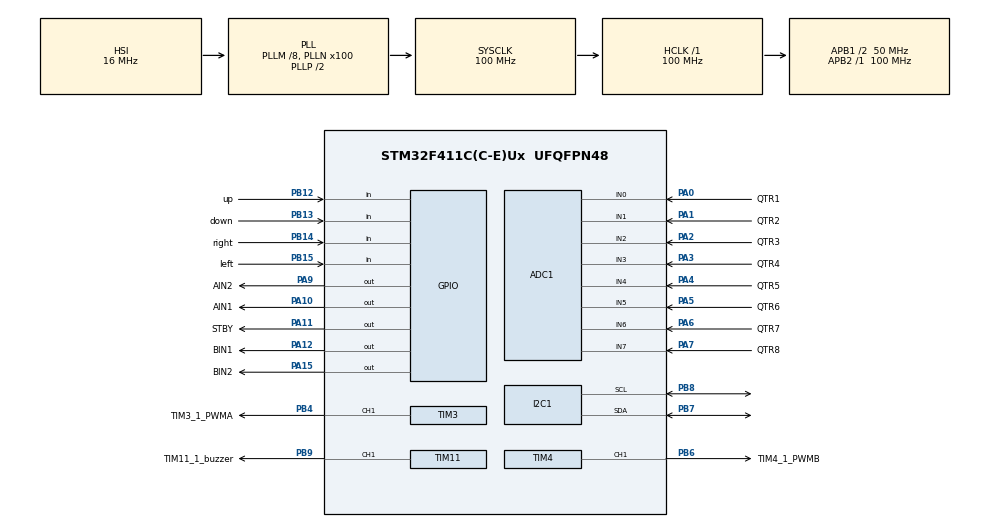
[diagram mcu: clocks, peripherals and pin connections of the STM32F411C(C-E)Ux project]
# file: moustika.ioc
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ADC1.Channel-0\#ChannelRegularConversion=ADC_CHANNEL_0
ADC1.Channel-1\#ChannelRegularConversion=ADC_CHANNEL_1
ADC1.Channel-2\#ChannelRegularConversion=ADC_CHANNEL_2
ADC1.Channel-3\#ChannelRegularConversion=ADC_CHANNEL_3
ADC1.Channel-4\#ChannelRegularConversion=ADC_CHANNEL_4
ADC1.Channel-5\#ChannelRegularConversion=ADC_CHANNEL_5
ADC1.Channel-6\#ChannelRegularConversion=ADC_CHANNEL_6
ADC1.Channel-7\#ChannelRegularConversion=ADC_CHANNEL_7
ADC1.ContinuousConvMode=ENABLE
ADC1.DMAContinuousRequests=ENABLE
ADC1.NbrOfConversion=8
ADC1.NbrOfConversionFlag=1
ADC1.Rank-0\#ChannelRegularConversion=1
ADC1.Rank-1\#ChannelRegularConversion=2
ADC1.Rank-2\#ChannelRegularConversion=3
ADC1.Rank-3\#ChannelRegularConversion=4
ADC1.Rank-4\#ChannelRegularConversion=5
ADC1.Rank-5\#ChannelRegularConversion=6
ADC1.Rank-6\#ChannelRegularConversion=7
ADC1.Rank-7\#ChannelRegularConversion=8
ADC1.SamplingTime-0\#ChannelRegularConversion=ADC_SAMPLETIME_15CYCLES
ADC1.SamplingTime-1\#ChannelRegularConversion=ADC_SAMPLETIME_15CYCLES
ADC1.SamplingTime-2\#ChannelRegularConversion=ADC_SAMPLETIME_15CYCLES
ADC1.SamplingTime-3\#ChannelRegularConversion=ADC_SAMPLETIME_15CYCLES
ADC1.SamplingTime-4\#ChannelRegularConversion=ADC_SAMPLETIME_15CYCLES
ADC1.SamplingTime-5\#ChannelRegularConversion=ADC_SAMPLETIME_15CYCLES
ADC1.SamplingTime-6\#ChannelRegularConversion=ADC_SAMPLETIME_15CYCLES
ADC1.SamplingTime-7\#ChannelRegularConversion=ADC_SAMPLETIME_15CYCLES
ADC1.ScanConvMode=ENABLE
ADC1.master=1
Dma.ADC1.0.Direction=DMA_PERIPH_TO_MEMORY
Dma.ADC1.0.FIFOMode=DMA_FIFOMODE_DISABLE
Dma.ADC1.0.Instance=DMA2_Stream0
Dma.ADC1.0.MemDataAlignment=DMA_MDATAALIGN_HALFWORD
Dma.ADC1.0.MemInc=DMA_MINC_ENABLE
Dma.ADC1.0.Mode=DMA_CIRCULAR
Dma.ADC1.0.PeriphDataAlignment=DMA_PDATAALIGN_HALFWORD
Dma.ADC1.0.PeriphInc=DMA_PINC_DISABLE
Dma.ADC1.0.Priority=DMA_PRIORITY_LOW
Dma.Request0=ADC1
I2C1.I2C_Mode=I2C_Fast
Mcu.Family=STM32F4
Mcu.Name=STM32F411C(C-E)Ux
Mcu.Package=UFQFPN48
NVIC.DMA2_Stream0_IRQn=true\:0\:0\:false\:false\:true\:false\:true\:true
NVIC.PriorityGroup=NVIC_PRIORITYGROUP_4
PA0-WKUP.GPIO_Label=QTR1
PA0-WKUP.Signal=ADCx_IN0
PA1.GPIO_Label=QTR2
PA1.Signal=ADCx_IN1
PA10.GPIO_Label=AIN1
PA10.Signal=GPIO_Output
PA11.GPIO_Label=STBY
PA11.Signal=GPIO_Output
PA12.GPIO_Label=BIN1
PA12.Signal=GPIO_Output
PA13.Mode=Serial_Wire
PA13.Signal=SYS_JTMS-SWDIO
PA14.Mode=Serial_Wire
PA14.Signal=SYS_JTCK-SWCLK
PA15.GPIO_Label=BIN2
PA15.Signal=GPIO_Output
PA2.GPIO_Label=QTR3
PA2.Signal=ADCx_IN2
PA3.GPIO_Label=QTR4
PA3.Signal=ADCx_IN3
PA4.GPIO_Label=QTR5
PA4.Signal=ADCx_IN4
PA5.GPIO_Label=QTR6
PA5.Signal=ADCx_IN5
PA6.GPIO_Label=QTR7
PA6.Signal=ADCx_IN6
PA7.GPIO_Label=QTR8
PA7.Signal=ADCx_IN7
PA9.GPIO_Label=AIN2
PA9.Signal=GPIO_Output
PB12.GPIO_Label=up
PB12.Signal=GPIO_Input
PB13.GPIO_Label=down
PB13.Signal=GPIO_Input
PB14.GPIO_Label=right
PB14.Signal=GPIO_Input
PB15.GPIO_Label=left
PB15.Signal=GPIO_Input
PB4.GPIO_Label=TIM3_1_PWMA
PB4.Signal=S_TIM3_CH1
PB6.GPIO_Label=TIM4_1_PWMB
PB6.Signal=S_TIM4_CH1
PB7.Mode=I2C
PB7.Signal=I2C1_SDA
PB8.Mode=I2C
PB8.Signal=I2C1_SCL
PB9.GPIO_Label=TIM11_1_buzzer
PB9.Signal=S_TIM11_CH1
PH0\ -\ OSC_IN.Mode=HSE-External-Oscillator
PH0\ -\ OSC_IN.Signal=RCC_OSC_IN
PH1\ -\ OSC_OUT.Mode=HSE-External-Oscillator
PH1\ -\ OSC_OUT.Signal=RCC_OSC_OUT
ProjectManager.HeapSize=0x200
ProjectManager.StackSize=0x400
ProjectManager.TargetToolchain=STM32CubeIDE
RCC.48MHZClocksFreq_Value=50000000
RCC.AHBFreq_Value=100000000
RCC.APB1CLKDivider=RCC_HCLK_DIV2
RCC.APB1Freq_Value=50000000
RCC.APB1TimFreq_Value=100000000
RCC.APB2Freq_Value=100000000
RCC.APB2TimFreq_Value=100000000
RCC.CortexFreq_Value=100000000
RCC.HCLKFreq_Value=100000000
RCC.HSE_VALUE=25000000
RCC.HSI_VALUE=16000000
RCC.LSE_VALUE=32768
RCC.PLLM=8
RCC.PLLN=100
RCC.SYSCLKFreq_VALUE=100000000
RCC.SYSCLKSource=RCC_SYSCLKSOURCE_PLLCLK
RCC.VCOOutputFreq_Value=200000000
SH.ADCx_IN0.0=ADC1_IN0,IN0
SH.ADCx_IN1.0=ADC1_IN1,IN1
SH.ADCx_IN2.0=ADC1_IN2,IN2
SH.ADCx_IN3.0=ADC1_IN3,IN3
SH.ADCx_IN4.0=ADC1_IN4,IN4
SH.ADCx_IN5.0=ADC1_IN5,IN5
SH.ADCx_IN6.0=ADC1_IN6,IN6
SH.ADCx_IN7.0=ADC1_IN7,IN7
SH.S_TIM11_CH1.0=TIM11_CH1,PWM Generation1 CH1
SH.S_TIM3_CH1.0=TIM3_CH1,PWM Generation1 CH1
SH.S_TIM4_CH1.0=TIM4_CH1,PWM Generation1 CH1
TIM11.Channel=TIM_CHANNEL_1
TIM3.AutoReloadPreload=TIM_AUTORELOAD_PRELOAD_ENABLE
TIM3.Channel-PWM\ Generation1\ CH1=TIM_CHANNEL_1
TIM3.Period=1000
TIM3.Prescaler=4
TIM4.AutoReloadPreload=TIM_AUTORELOAD_PRELOAD_ENABLE
TIM4.Channel-PWM\ Generation1\ CH1=TIM_CHANNEL_1
TIM4.Period=1000
TIM4.Prescaler=4
VP_TIM11_VS_ClockSourceINT.Mode=Enable_Timer
board=custom

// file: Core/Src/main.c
/* USER CODE BEGIN Header */
/**
  ******************************************************************************
  * @file           : main.c
  * @brief          : Main program body
  ******************************************************************************
  * @attention
  *
  * Copyright (c) 2026 STMicroelectronics.
  * All rights reserved.
  *
  * This software is licensed under terms that can be found in the LICENSE file
  * in the root directory of this software component.
  * If no LICENSE file comes with this software, it is provided AS-IS.
  *
  ******************************************************************************
  */
/* USER CODE END Header */
#include "main.h"

/* USER CODE BEGIN Includes */
#include "fonts.h"
#include "ssd1306.h"
#include "stdio.h"
#include "string.h"
/* USER CODE END Includes */

/* USER CODE BEGIN PD */

uint16_t qtrValues[8];
uint16_t linePos;
uint16_t qtrCalibrated[8];

uint32_t lastPidTime = 0;
uint32_t lastScreenTime = 0;

int LINE_TH = 50;
// External/Global arrays
extern uint16_t qtrValues[8];
uint16_t qtrCalibrated[8];
float Kp = 0.4;
float Kd = 6;
float Ki = 0;

int sharp_right = 0;
int sharp_left = 0;
// Ki is usually not needed for line followers, keeps it simple.

int lastError = 0; // To store previous error for calculating D

int baseSpeed = 800;
int maxSpeed = 1000;
// ==========================================
// MOTOR DRIVER (TB6612FNG)
// ==========================================
// Standby Pin (Must be HIGH to run motors)
#define STBY_PORT       GPIOA
#define STBY_PIN        GPIO_PIN_11

// Motor A (Left) - PWM on TIM3 CH1 (PB4)
#define PWMA_TIM_HANDLE &htim3
#define PWMA_CHANNEL    TIM_CHANNEL_1
#define AIN1_PORT       GPIOA
#define AIN1_PIN        GPIO_PIN_10
#define AIN2_PORT       GPIOA
#define AIN2_PIN        GPIO_PIN_9

// Motor B (Right) - PWM on TIM4 CH1 (PB6)
#define PWMB_TIM_HANDLE &htim4
#define PWMB_CHANNEL    TIM_CHANNEL_1
#define BIN1_PORT       GPIOA
#define BIN1_PIN        GPIO_PIN_12
#define BIN2_PORT       GPIOA
#define BIN2_PIN        GPIO_PIN_15  // WARNING: JTAG Pin (Disable JTAG in CubeMX!)

// ==========================================
// USER INTERFACE (Buttons)
// ==========================================
// Wired to GPIOB, assuming Pull-UP input (Connect button to GND)
#define BTN_PORT        GPIOB
#define BTN_UP_PIN      GPIO_PIN_12
#define BTN_DOWN_PIN    GPIO_PIN_13
#define BTN_RIGHT_PIN   GPIO_PIN_14
#define BTN_LEFT_PIN    GPIO_PIN_15

// ==========================================
// SENSORS (QTR-8A)
// ==========================================
// Connected to ADC1 IN0 -> IN7 (PA0 -> PA7)
// No defines needed here if using DMA array,
// but good to know for reference:
#define SENSOR_PORT     GPIOA
#define SENSOR_1_PIN    GPIO_PIN_0
#define SENSOR_8_PIN    GPIO_PIN_7

// ==========================================
// EXTRAS
// ==========================================
#define BUZZER_PORT     GPIOB
#define BUZZER_PIN      GPIO_PIN_9  // TIM11 CH1
#define OLED_I2C_PORT   GPIOB
#define OLED_SCL_PIN    GPIO_PIN_8
#define OLED_SDA_PIN    GPIO_PIN_7

/* USER CODE END PD */

ADC_HandleTypeDef hadc1;
DMA_HandleTypeDef hdma_adc1;

I2C_HandleTypeDef hi2c1;

TIM_HandleTypeDef htim3;
TIM_HandleTypeDef htim4;
TIM_HandleTypeDef htim11;

/* USER CODE BEGIN PV */
typedef enum {
    STATE_MENU,
	STATE_START,
	STATE_PID

} SystemState;

SystemState currentState = STATE_MENU;
int menuIndex = 0;

const char* menuItems[] = {
    "1. START",
	"2. PID "

};

uint8_t updateScreen = 1;

/* USER CODE END PV */

void SystemClock_Config(void);
static void MX_GPIO_Init(void);
static void MX_DMA_Init(void);
static void MX_TIM3_Init(void);
static void MX_TIM4_Init(void);
static void MX_I2C1_Init(void);
static void MX_ADC1_Init(void);
static void MX_TIM11_Init(void);
/* USER CODE BEGIN PFP */

void SetMotorA(int speed);
void SetMotorB(int speed);
void EnableMotors();
void DisableMotors();
uint8_t IsPressed(GPIO_TypeDef *Port, uint16_t Pin);
uint16_t CalculateLinePosition(void);

void DrawGraphScreen(uint16_t position);

void Run_PID(void);
void calibrateQTR(void);
void SetupTrackCalibration(void);

/* USER CODE END PFP */

int main(void)
{

  /* MCU Configuration--------------------------------------------------------*/

  /* Reset of all peripherals, Initializes the Flash interface and the Systick. */
  HAL_Init();

  /* Configure the system clock */
  SystemClock_Config();

  /* Initialize all configured peripherals */
  MX_GPIO_Init();
  MX_DMA_Init();
  MX_TIM3_Init();
  MX_TIM4_Init();
  MX_I2C1_Init();
  MX_ADC1_Init();
  MX_TIM11_Init();
  /* USER CODE BEGIN 2 */
  //HAL_TIM_PWM_Start(&htim3, TIM_CHANNEL_1);
  //setMotorSpeed(500);
  SSD1306_Init();
  SSD1306_Fill(0); // Clear black
  SSD1306_UpdateScreen();

  // 2. Start PWM Timers
  HAL_TIM_PWM_Start(&htim3, TIM_CHANNEL_1);
  HAL_TIM_PWM_Start(&htim4, TIM_CHANNEL_1);
  EnableMotors();

  if(HAL_ADC_Start_DMA(&hadc1, (uint32_t*)qtrValues, 8) != HAL_OK)
  {
      // DMA Start Error Handler (Optional: Print to OLED)
      SSD1306_GotoXY(0,0);
      SSD1306_Puts("DMA ERR", &Font_7x10, 1);
      SSD1306_UpdateScreen();
      Error_Handler();
  }

  SetupTrackCalibration();
  /* USER CODE END 2 */

  /* Infinite loop */
  /* USER CODE BEGIN WHILE */
  while (1)
  {

      if (HAL_GetTick() - lastPidTime >= 1)
      {
          lastPidTime = HAL_GetTick();

          calibrateQTR();
          linePos = CalculateLinePosition();
          Run_PID();

          int leftSide   = (qtrCalibrated[0] > LINE_TH) + (qtrCalibrated[1] > LINE_TH) + (qtrCalibrated[2] > LINE_TH);
          int rightSide  = (qtrCalibrated[5] > LINE_TH) + (qtrCalibrated[6] > LINE_TH) + (qtrCalibrated[7] > LINE_TH);
          int center     = (qtrCalibrated[3] > LINE_TH) + (qtrCalibrated[4] > LINE_TH);

          int totalActive = leftSide + rightSide + center;

          if(leftSide >= 2 && rightSide == 0) {
              sharp_left = 1;
              sharp_right = 0; // Clear the other flag to be safe
          }
          if(rightSide >= 2 && leftSide == 0) {
              sharp_left = 0;
              sharp_right = 1; // Clear the other flag to be safe
          }

          if (totalActive <= 1)
                    {
                        // Brake briefly to stop forward momentum before spinning
                        SetMotorA(0);
                        SetMotorB(0);
                        HAL_Delay(50);

                        while (1)
                        {
                            calibrateQTR();
                            linePos = CalculateLinePosition(); // Just to get raw values updated

                            // EXIT CONDITION: Center sensors see the line
                            if (qtrCalibrated[3] > LINE_TH || qtrCalibrated[4] > LINE_TH) {
                                // Reset flags and exit recovery
                                sharp_left = 0;
                                sharp_right = 0;
                                lastError = 0; // Reset PID memory
                                break;
                            }

                            // MOVEMENT LOGIC (Must use ELSE IF)
                            if(sharp_left) {
                                // We remembered a left turn -> Spin Left
                                SetMotorA(-700); // Reduced from 1000 to catch line easier
                                SetMotorB(700);
                            }
                            else if(sharp_right) {
                                // We remembered a right turn -> Spin Right
                                SetMotorA(700);
                                SetMotorB(-700);
                            }
                            else {
                                // No flag set? Use PID History (Standard Gap)
                                if(lastError > 0) {
                                     // Lost to the Right -> Spin Right
                                     SetMotorA(700);
                                     SetMotorB(-700);
                                }
                                else {
                                     // Lost to the Left -> Spin Left
                                     SetMotorA(-700);
                                     SetMotorB(700);
                                }
                            }
                            // Small delay to prevent CPU hogging in while loop (optional)
                            // HAL_Delay(1);
                        }
                    }

      }

      if (HAL_GetTick() - lastScreenTime >= 100)
      {
          lastScreenTime = HAL_GetTick();
          DrawGraphScreen(linePos);
      }

      // 3. Delay
      //HAL_Delay(50);

    /* USER CODE END WHILE */

  }
}

void SystemClock_Config(void)
{
  RCC_OscInitTypeDef RCC_OscInitStruct = {0};
  RCC_ClkInitTypeDef RCC_ClkInitStruct = {0};

  /** Configure the main internal regulator output voltage
  */
  __HAL_RCC_PWR_CLK_ENABLE();
  __HAL_PWR_VOLTAGESCALING_CONFIG(PWR_REGULATOR_VOLTAGE_SCALE1);

  /** Initializes the RCC Oscillators according to the specified parameters
  * in the RCC_OscInitTypeDef structure.
  */
  RCC_OscInitStruct.OscillatorType = RCC_OSCILLATORTYPE_HSI;
  RCC_OscInitStruct.HSIState = RCC_HSI_ON;
  RCC_OscInitStruct.HSICalibrationValue = RCC_HSICALIBRATION_DEFAULT;
  RCC_OscInitStruct.PLL.PLLState = RCC_PLL_ON;
  RCC_OscInitStruct.PLL.PLLSource = RCC_PLLSOURCE_HSI;
  RCC_OscInitStruct.PLL.PLLM = 8;
  RCC_OscInitStruct.PLL.PLLN = 100;
  RCC_OscInitStruct.PLL.PLLP = RCC_PLLP_DIV2;
  RCC_OscInitStruct.PLL.PLLQ = 4;
  if (HAL_RCC_OscConfig(&RCC_OscInitStruct) != HAL_OK)
  {
    Error_Handler();
  }

  /** Initializes the CPU, AHB and APB buses clocks
  */
  RCC_ClkInitStruct.ClockType = RCC_CLOCKTYPE_HCLK|RCC_CLOCKTYPE_SYSCLK
                              |RCC_CLOCKTYPE_PCLK1|RCC_CLOCKTYPE_PCLK2;
  RCC_ClkInitStruct.SYSCLKSource = RCC_SYSCLKSOURCE_PLLCLK;
  RCC_ClkInitStruct.AHBCLKDivider = RCC_SYSCLK_DIV1;
  RCC_ClkInitStruct.APB1CLKDivider = RCC_HCLK_DIV2;
  RCC_ClkInitStruct.APB2CLKDivider = RCC_HCLK_DIV1;

  if (HAL_RCC_ClockConfig(&RCC_ClkInitStruct, FLASH_LATENCY_3) != HAL_OK)
  {
    Error_Handler();
  }
}

static void MX_ADC1_Init(void)
{

  ADC_ChannelConfTypeDef sConfig = {0};

  /** Configure the global features of the ADC (Clock, Resolution, Data Alignment and number of conversion)
  */
  hadc1.Instance = ADC1;
  hadc1.Init.ClockPrescaler = ADC_CLOCK_SYNC_PCLK_DIV4;
  hadc1.Init.Resolution = ADC_RESOLUTION_12B;
  hadc1.Init.ScanConvMode = ENABLE;
  hadc1.Init.ContinuousConvMode = ENABLE;
  hadc1.Init.DiscontinuousConvMode = DISABLE;
  hadc1.Init.ExternalTrigConvEdge = ADC_EXTERNALTRIGCONVEDGE_NONE;
  hadc1.Init.ExternalTrigConv = ADC_SOFTWARE_START;
  hadc1.Init.DataAlign = ADC_DATAALIGN_RIGHT;
  hadc1.Init.NbrOfConversion = 8;
  hadc1.Init.DMAContinuousRequests = ENABLE;
  hadc1.Init.EOCSelection = ADC_EOC_SINGLE_CONV;
  if (HAL_ADC_Init(&hadc1) != HAL_OK)
  {
    Error_Handler();
  }

  /** Configure for the selected ADC regular channel its corresponding rank in the sequencer and its sample time.
  */
  sConfig.Channel = ADC_CHANNEL_0;
  sConfig.Rank = 1;
  sConfig.SamplingTime = ADC_SAMPLETIME_15CYCLES;
  if (HAL_ADC_ConfigChannel(&hadc1, &sConfig) != HAL_OK)
  {
    Error_Handler();
  }

  /** Configure for the selected ADC regular channel its corresponding rank in the sequencer and its sample time.
  */
  sConfig.Channel = ADC_CHANNEL_1;
  sConfig.Rank = 2;
  if (HAL_ADC_ConfigChannel(&hadc1, &sConfig) != HAL_OK)
  {
    Error_Handler();
  }

  /** Configure for the selected ADC regular channel its corresponding rank in the sequencer and its sample time.
  */
  sConfig.Channel = ADC_CHANNEL_2;
  sConfig.Rank = 3;
  if (HAL_ADC_ConfigChannel(&hadc1, &sConfig) != HAL_OK)
  {
    Error_Handler();
  }

  /** Configure for the selected ADC regular channel its corresponding rank in the sequencer and its sample time.
  */
  sConfig.Channel = ADC_CHANNEL_3;
  sConfig.Rank = 4;
  if (HAL_ADC_ConfigChannel(&hadc1, &sConfig) != HAL_OK)
  {
    Error_Handler();
  }

  /** Configure for the selected ADC regular channel its corresponding rank in the sequencer and its sample time.
  */
  sConfig.Channel = ADC_CHANNEL_4;
  sConfig.Rank = 5;
  if (HAL_ADC_ConfigChannel(&hadc1, &sConfig) != HAL_OK)
  {
    Error_Handler();
  }

  /** Configure for the selected ADC regular channel its corresponding rank in the sequencer and its sample time.
  */
  sConfig.Channel = ADC_CHANNEL_5;
  sConfig.Rank = 6;
  if (HAL_ADC_ConfigChannel(&hadc1, &sConfig) != HAL_OK)
  {
    Error_Handler();
  }

  /** Configure for the selected ADC regular channel its corresponding rank in the sequencer and its sample time.
  */
  sConfig.Channel = ADC_CHANNEL_6;
  sConfig.Rank = 7;
  if (HAL_ADC_ConfigChannel(&hadc1, &sConfig) != HAL_OK)
  {
    Error_Handler();
  }

  /** Configure for the selected ADC regular channel its corresponding rank in the sequencer and its sample time.
  */
  sConfig.Channel = ADC_CHANNEL_7;
  sConfig.Rank = 8;
  if (HAL_ADC_ConfigChannel(&hadc1, &sConfig) != HAL_OK)
  {
    Error_Handler();
  }

}

static void MX_I2C1_Init(void)
{

  hi2c1.Instance = I2C1;
  hi2c1.Init.ClockSpeed = 400000;
  hi2c1.Init.DutyCycle = I2C_DUTYCYCLE_2;
  hi2c1.Init.OwnAddress1 = 0;
  hi2c1.Init.AddressingMode = I2C_ADDRESSINGMODE_7BIT;
  hi2c1.Init.DualAddressMode = I2C_DUALADDRESS_DISABLE;
  hi2c1.Init.OwnAddress2 = 0;
  hi2c1.Init.GeneralCallMode = I2C_GENERALCALL_DISABLE;
  hi2c1.Init.NoStretchMode = I2C_NOSTRETCH_DISABLE;
  if (HAL_I2C_Init(&hi2c1) != HAL_OK)
  {
    Error_Handler();
  }

}

static void MX_TIM3_Init(void)
{

  TIM_MasterConfigTypeDef sMasterConfig = {0};
  TIM_OC_InitTypeDef sConfigOC = {0};

  htim3.Instance = TIM3;
  htim3.Init.Prescaler = 4;
  htim3.Init.CounterMode = TIM_COUNTERMODE_UP;
  htim3.Init.Period = 1000;
  htim3.Init.ClockDivision = TIM_CLOCKDIVISION_DIV1;
  htim3.Init.AutoReloadPreload = TIM_AUTORELOAD_PRELOAD_ENABLE;
  if (HAL_TIM_PWM_Init(&htim3) != HAL_OK)
  {
    Error_Handler();
  }
  sMasterConfig.MasterOutputTrigger = TIM_TRGO_RESET;
  sMasterConfig.MasterSlaveMode = TIM_MASTERSLAVEMODE_DISABLE;
  if (HAL_TIMEx_MasterConfigSynchronization(&htim3, &sMasterConfig) != HAL_OK)
  {
    Error_Handler();
  }
  sConfigOC.OCMode = TIM_OCMODE_PWM1;
  sConfigOC.Pulse = 0;
  sConfigOC.OCPolarity = TIM_OCPOLARITY_HIGH;
  sConfigOC.OCFastMode = TIM_OCFAST_DISABLE;
  if (HAL_TIM_PWM_ConfigChannel(&htim3, &sConfigOC, TIM_CHANNEL_1) != HAL_OK)
  {
    Error_Handler();
  }
  HAL_TIM_MspPostInit(&htim3);

}

static void MX_TIM4_Init(void)
{

  TIM_MasterConfigTypeDef sMasterConfig = {0};
  TIM_OC_InitTypeDef sConfigOC = {0};

  htim4.Instance = TIM4;
  htim4.Init.Prescaler = 4;
  htim4.Init.CounterMode = TIM_COUNTERMODE_UP;
  htim4.Init.Period = 1000;
  htim4.Init.ClockDivision = TIM_CLOCKDIVISION_DIV1;
  htim4.Init.AutoReloadPreload = TIM_AUTORELOAD_PRELOAD_ENABLE;
  if (HAL_TIM_PWM_Init(&htim4) != HAL_OK)
  {
    Error_Handler();
  }
  sMasterConfig.MasterOutputTrigger = TIM_TRGO_RESET;
  sMasterConfig.MasterSlaveMode = TIM_MASTERSLAVEMODE_DISABLE;
  if (HAL_TIMEx_MasterConfigSynchronization(&htim4, &sMasterConfig) != HAL_OK)
  {
    Error_Handler();
  }
  sConfigOC.OCMode = TIM_OCMODE_PWM1;
  sConfigOC.Pulse = 0;
  sConfigOC.OCPolarity = TIM_OCPOLARITY_HIGH;
  sConfigOC.OCFastMode = TIM_OCFAST_DISABLE;
  if (HAL_TIM_PWM_ConfigChannel(&htim4, &sConfigOC, TIM_CHANNEL_1) != HAL_OK)
  {
    Error_Handler();
  }
  HAL_TIM_MspPostInit(&htim4);

}

static void MX_TIM11_Init(void)
{

  TIM_OC_InitTypeDef sConfigOC = {0};

  htim11.Instance = TIM11;
  htim11.Init.Prescaler = 0;
  htim11.Init.CounterMode = TIM_COUNTERMODE_UP;
  htim11.Init.Period = 65535;
  htim11.Init.ClockDivision = TIM_CLOCKDIVISION_DIV1;
  htim11.Init.AutoReloadPreload = TIM_AUTORELOAD_PRELOAD_DISABLE;
  if (HAL_TIM_Base_Init(&htim11) != HAL_OK)
  {
    Error_Handler();
  }
  if (HAL_TIM_PWM_Init(&htim11) != HAL_OK)
  {
    Error_Handler();
  }
  sConfigOC.OCMode = TIM_OCMODE_PWM1;
  sConfigOC.Pulse = 0;
  sConfigOC.OCPolarity = TIM_OCPOLARITY_HIGH;
  sConfigOC.OCFastMode = TIM_OCFAST_DISABLE;
  if (HAL_TIM_PWM_ConfigChannel(&htim11, &sConfigOC, TIM_CHANNEL_1) != HAL_OK)
  {
    Error_Handler();
  }
  HAL_TIM_MspPostInit(&htim11);

}

static void MX_DMA_Init(void)
{

  /* DMA controller clock enable */
  __HAL_RCC_DMA2_CLK_ENABLE();

  /* DMA interrupt init */
  /* DMA2_Stream0_IRQn interrupt configuration */
  HAL_NVIC_SetPriority(DMA2_Stream0_IRQn, 0, 0);
  HAL_NVIC_EnableIRQ(DMA2_Stream0_IRQn);

}

static void MX_GPIO_Init(void)
{
  GPIO_InitTypeDef GPIO_InitStruct = {0};

  /* GPIO Ports Clock Enable */
  __HAL_RCC_GPIOH_CLK_ENABLE();
  __HAL_RCC_GPIOA_CLK_ENABLE();
  __HAL_RCC_GPIOB_CLK_ENABLE();

  /*Configure GPIO pin Output Level */
  HAL_GPIO_WritePin(GPIOA, AIN2_Pin|AIN1_Pin|STBY_Pin|BIN1_Pin
                          |BIN2_Pin, GPIO_PIN_RESET);

  /*Configure GPIO pins : up_Pin down_Pin right_Pin left_Pin */
  GPIO_InitStruct.Pin = up_Pin|down_Pin|right_Pin|left_Pin;
  GPIO_InitStruct.Mode = GPIO_MODE_INPUT;
  GPIO_InitStruct.Pull = GPIO_NOPULL;
  HAL_GPIO_Init(GPIOB, &GPIO_InitStruct);

  /*Configure GPIO pins : AIN2_Pin AIN1_Pin STBY_Pin BIN1_Pin
                           BIN2_Pin */
  GPIO_InitStruct.Pin = AIN2_Pin|AIN1_Pin|STBY_Pin|BIN1_Pin
                          |BIN2_Pin;
  GPIO_InitStruct.Mode = GPIO_MODE_OUTPUT_PP;
  GPIO_InitStruct.Pull = GPIO_NOPULL;
  GPIO_InitStruct.Speed = GPIO_SPEED_FREQ_LOW;
  HAL_GPIO_Init(GPIOA, &GPIO_InitStruct);

}

/* USER CODE BEGIN 4 */
void SetMotorA(int speed) {
    // 1. Set Direction
    if (speed > 0) {
        HAL_GPIO_WritePin(AIN1_PORT, AIN1_PIN, GPIO_PIN_SET);
        HAL_GPIO_WritePin(AIN2_PORT, AIN2_PIN, GPIO_PIN_RESET);
    } else if (speed < 0) {
        HAL_GPIO_WritePin(AIN1_PORT, AIN1_PIN, GPIO_PIN_RESET);
        HAL_GPIO_WritePin(AIN2_PORT, AIN2_PIN, GPIO_PIN_SET);
        speed = -speed; // Make positive for PWM
    } else {
        HAL_GPIO_WritePin(AIN1_PORT, AIN1_PIN, GPIO_PIN_SET);
        HAL_GPIO_WritePin(AIN2_PORT, AIN2_PIN, GPIO_PIN_SET); // Brake
    }

    // 2. Limit Speed
    if (speed > 1000) speed = 1000;

    // 3. Set PWM
    __HAL_TIM_SET_COMPARE(PWMA_TIM_HANDLE, PWMA_CHANNEL, speed);
}

void SetMotorB(int speed) {
    // 1. Set Direction
    if (speed > 0) {
        HAL_GPIO_WritePin(BIN1_PORT, BIN1_PIN, GPIO_PIN_SET);
        HAL_GPIO_WritePin(BIN2_PORT, BIN2_PIN, GPIO_PIN_RESET);
    } else if (speed < 0) {
        HAL_GPIO_WritePin(BIN1_PORT, BIN1_PIN, GPIO_PIN_RESET);
        HAL_GPIO_WritePin(BIN2_PORT, BIN2_PIN, GPIO_PIN_SET);
        speed = -speed;
    } else {
        HAL_GPIO_WritePin(BIN1_PORT, BIN1_PIN, GPIO_PIN_SET);
        HAL_GPIO_WritePin(BIN2_PORT, BIN2_PIN, GPIO_PIN_SET); // Brake
    }

    // 2. Limit Speed
    if (speed > 1000) speed = 1000;

    // 3. Set PWM
    __HAL_TIM_SET_COMPARE(PWMB_TIM_HANDLE, PWMB_CHANNEL, speed);
}

void EnableMotors() {
    HAL_GPIO_WritePin(STBY_PORT, STBY_PIN, GPIO_PIN_SET);
}

void DisableMotors() {
    HAL_GPIO_WritePin(STBY_PORT, STBY_PIN, GPIO_PIN_RESET);
}

uint8_t IsPressed(GPIO_TypeDef *Port, uint16_t Pin) {
  if (HAL_GPIO_ReadPin(Port, Pin) == 0) {
    HAL_Delay(50);
    if (HAL_GPIO_ReadPin(Port, Pin) == 0) {
      while (HAL_GPIO_ReadPin(Port, Pin) == 0)
        ;
      return 1;
    }
  }
  return 0;
}

uint16_t value_;

uint16_t qtrCalibrated[8];

/*int  ADC_MAX =4095;
int  NOISE_FLOOR = 660 ;   // noise threshold
int FULL_SPREAD = 200 ;   // sensors must be close to each other
int  FULL_WHITE_MAX = 650 ;   // average below → white
int FULL_BLACK_MIN = 3800  ; // average above → black*/

int ADC_MAX = 4095;
int NOISE_FLOOR = 0;      // Will be calculated
int FULL_SPREAD = 0;      // Will be calculated
int FULL_WHITE_MAX = 0;   // Will be calculated
int FULL_BLACK_MIN = 0;   // Will be calculated
int BLACK_THRESHOLD = 0;
int BLACK_THRESHOLD_pos = 0;

void calibrateQTR(void)
{
    uint16_t min = qtrValues[0];
    uint16_t max = qtrValues[0];
    uint32_t sum = 0;

    // Pass 1: Statistics
    for (int i = 0; i < 8; i++)
    {
        uint16_t v = qtrValues[i];
        if (v < min) min = v;
        if (v > max) max = v;
        sum += v;
    }

    uint16_t avg = sum / 8;
    uint16_t spread = max - min;

    // ===== PRIORITY OVERRIDE =====

    // Full white (Low Spread AND Low Average) -> force LOW
    if (spread < FULL_SPREAD && avg < FULL_WHITE_MAX)
    {
        memset(qtrCalibrated, 0, sizeof(qtrCalibrated));
        return;
    }

    // Full black (Low Spread AND High Average) -> force HIGH
    if (spread < FULL_SPREAD && avg > FULL_BLACK_MIN)
    {
        for (int i = 0; i < 8; i++)
            qtrCalibrated[i] = ADC_MAX;
        return;
    }

    // ===== NORMAL CALIBRATION =====

    if (max - min < NOISE_FLOOR)
    {
        memset(qtrCalibrated, 0, sizeof(qtrCalibrated));
        return;
    }

    for (int i = 0; i < 8; i++)
    {
        // ===== THE HARD FILTER =====
        // If this specific sensor is not "Dark Enough" to be part of the line,
        // we kill it immediately.
        // This removes the "White Noise" flickering completely.
        if (qtrValues[i] < BLACK_THRESHOLD || qtrValues[i] > BLACK_THRESHOLD_pos)
        {
             qtrCalibrated[i] = 0;
             continue;
        }

        // Standard Normalization
        int32_t v = qtrValues[i] - min;

        // Extra noise check
        if (v < NOISE_FLOOR)
        {
            qtrCalibrated[i] = 0;
            continue;
        }

        uint32_t scaled = (v * ADC_MAX) / (max - min);

        // Square for contrast
        scaled = (scaled * scaled) / ADC_MAX;

        // Clamp
        if (scaled > ADC_MAX) scaled = ADC_MAX;

        qtrCalibrated[i] = (uint16_t)scaled;
    }
}

uint16_t CalculateLinePosition(void)
{
    uint32_t weightedSum = 0;
    uint32_t totalSum = 0;
    static uint16_t lastPosition = 3500;

    // 1. Line Isolation Logic
    // We only accept sensors that are "connected" to the last known position.
    // Sensors are at 0, 1000, 2000... 7000.
    // If we were at 3500, valid sensors are 2, 3, 4, 5.
    // Sensor 7 (Right Wing) would be distance 3500 -> IGNORED.

    int activeSensors = 0;

    for(int i = 0; i < 8; i++)
    {
        uint16_t val = qtrCalibrated[i];

        // Skip weak signals
        if (val < 100) continue;

        // TRACKING LOGIC:
        // Calculate physical position of this specific sensor
        int sensorPos = i * 1000;

        // Calculate distance from previous robot position
        int distance = sensorPos - lastPosition;
        if(distance < 0) distance = -distance; // Absolute value

        // Threshold: 2500 means "2.5 sensors away".
        // If a sensor is more than 2 spots away from our line, it's a cross-line/noise.
        // UNLESS: We haven't seen a line for a while (totalSum == 0), then we accept anything.
        if (distance > 2500 && totalSum > 100)
        {
            // Ignore this sensor (It's the "Right Wing" 000110[11])
            val = 0;
        }

        totalSum += val;
        weightedSum += (val * sensorPos);
        if(val > 0) activeSensors++;
    }

    // 2. Lost Line Logic
    if (totalSum < 500) {
        // If we see NOTHING, we don't update lastPosition.
        // We return the last known position so PID keeps turning in that direction.
        return lastPosition;
    }

    uint16_t currentPosition = weightedSum / totalSum;
    lastPosition = currentPosition;

    return currentPosition;
}
void DrawGraphScreen(uint16_t position)
{
    char lcdBuffer[20];

    // 1. Clear Screen buffer
    SSD1306_Fill(0);

    // 2. Print Stats
    // Print Position
    sprintf(lcdBuffer, "Pos: %d", position);
    SSD1306_GotoXY(0, 0);
    SSD1306_Puts(lcdBuffer, &Font_7x10, 1);

    //sprintf(lcdBuffer, "Err: %d", error);
    sprintf(lcdBuffer, "V: %d", qtrValues[0]);
    SSD1306_GotoXY(65, 0);
    SSD1306_Puts(lcdBuffer, &Font_7x10, 1);

    // 3. Draw Bar Graphs
    for (int i = 0; i < 8; i++)
    {
        // Scaling: 4095 (Max ADC) -> 48 (Max Height)
        uint8_t barHeight = (qtrCalibrated[i] * 48) / 4095;
        //uint8_t barHeight = (qtrValues[i] * 48) / 4095;

        if(barHeight > 48) barHeight = 48;

        uint8_t xPos = i * 16;
        uint8_t yPos = 64 - barHeight;

        // Draw solid bar
        SSD1306_DrawFilledRectangle(xPos, yPos, 14, barHeight, 1);
    }

    uint8_t cursorX = (position * 128) / 7000;

    SSD1306_DrawLine(cursorX, 15, cursorX, 64, 0);

    // Draw a marker at the bottom
    SSD1306_DrawPixel(cursorX, 0, 1);
    SSD1306_DrawPixel(cursorX-1, 0, 1);
    SSD1306_DrawPixel(cursorX+1, 0, 1);

    SSD1306_UpdateScreen();
}
int I;
void Run_PID(void)
{
    uint16_t position = CalculateLinePosition();
    int error = position - 3500;

    int P = error;
    int D = error - lastError;

    // INTEGRAL with WINDUP GUARD
    I = I + error;
    // Cap I at approx 1/3 of max speed worth of correction
    if (I > 10000) I = 10000;
    if (I < -10000) I = -10000;

    lastError = error;

    // Calculate Correction
    // Note: Ki usually needs to be TINY (e.g., 0.001) for lines
    float motorSpeed = (Kp * P) + (Kd * D) + (Ki * I);

    int rightMotorSpeed = baseSpeed - motorSpeed;
    int leftMotorSpeed = baseSpeed + motorSpeed;

    // Constrain
    if (rightMotorSpeed > maxSpeed) rightMotorSpeed = maxSpeed;
    if (leftMotorSpeed > maxSpeed) leftMotorSpeed = maxSpeed;
    if (rightMotorSpeed < -maxSpeed) rightMotorSpeed = -maxSpeed;
    if (leftMotorSpeed < -maxSpeed) leftMotorSpeed = -maxSpeed;

    SetMotorA(leftMotorSpeed);
    SetMotorB(rightMotorSpeed);
}

void SetupTrackCalibration(void)
{
    uint16_t globalMin = 4095;
    uint16_t globalMax = 0;

    memset(qtrCalibrated, 0, sizeof(qtrCalibrated));
    int calibration_loops = 1000000;

    while(calibration_loops > 0)
    {
        uint32_t currentSum = 0;
        uint16_t currentMin = 4095;
        uint16_t currentMax = 0;

        for(int i = 0; i < 8; i++)
        {
            uint16_t val = qtrValues[i];
            currentSum += val;
            if(val < currentMin) currentMin = val;
            if(val > currentMax) currentMax = val;
        }

        uint16_t currentAvg = currentSum / 8;
        if(currentAvg < globalMin) globalMin = currentAvg;
        if(currentAvg > globalMax) globalMax = currentAvg;

        calibration_loops--;
    }

    uint16_t dynamicRange = globalMax - globalMin;

    if (dynamicRange < 500) {
        globalMin = 100;
        globalMax = 3800;
        dynamicRange = 3700;
    }

    FULL_WHITE_MAX = globalMin + (dynamicRange * 20 / 100);
    FULL_BLACK_MIN = globalMax - (dynamicRange * 20 / 100);
    NOISE_FLOOR = dynamicRange * 15 / 100;
    FULL_SPREAD = dynamicRange * 20 / 100;

    // ===== THE FILTER FIX =====
    // We set the threshold relative to the BLACKEST point found.
    // We allow a margin (e.g. 800) so we can still see the edges of the line.
    // If you want it stricter, decrease 800 to 400.
    // Do NOT go below 200 or PID will fail.
    BLACK_THRESHOLD = globalMax - 600;
    BLACK_THRESHOLD_pos = globalMax + 100;
}/* USER CODE END 4 */

void Error_Handler(void)
{
  __disable_irq();
  while (1)
  {
  }
}
